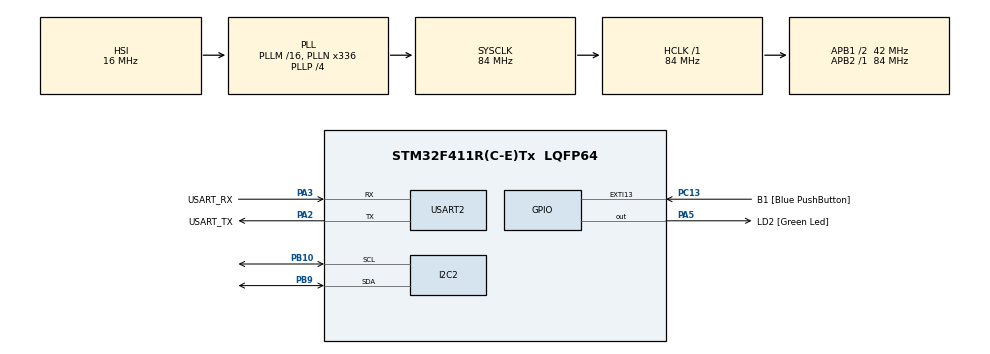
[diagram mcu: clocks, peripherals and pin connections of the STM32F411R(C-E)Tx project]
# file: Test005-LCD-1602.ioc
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Mcu.Family=STM32F4
Mcu.Name=STM32F411R(C-E)Tx
Mcu.Package=LQFP64
NVIC.PriorityGroup=NVIC_PRIORITYGROUP_0
PA13.GPIO_Label=TMS
PA13.Mode=Serial_Wire
PA13.Signal=SYS_JTMS-SWDIO
PA14.GPIO_Label=TCK
PA14.Mode=Serial_Wire
PA14.Signal=SYS_JTCK-SWCLK
PA2.GPIO_Label=USART_TX
PA2.Mode=Asynchronous
PA2.Signal=USART2_TX
PA3.GPIO_Label=USART_RX
PA3.Mode=Asynchronous
PA3.Signal=USART2_RX
PA5.GPIO_Label=LD2 [Green Led]
PA5.Signal=GPIO_Output
PB10.Mode=I2C
PB10.Signal=I2C2_SCL
PB3.GPIO_Label=SWO
PB3.Signal=SYS_JTDO-SWO
PB9.Mode=I2C
PB9.Signal=I2C2_SDA
PC13-ANTI_TAMP.GPIO_Label=B1 [Blue PushButton]
PC13-ANTI_TAMP.GPIO_ModeDefaultEXTI=GPIO_MODE_IT_FALLING
PC13-ANTI_TAMP.Signal=GPXTI13
PC14-OSC32_IN.Mode=LSE-External-Oscillator
PC14-OSC32_IN.Signal=RCC_OSC32_IN
PC15-OSC32_OUT.Mode=LSE-External-Oscillator
PC15-OSC32_OUT.Signal=RCC_OSC32_OUT
PH0\ -\ OSC_IN.Mode=HSE-External-Clock-Source
PH0\ -\ OSC_IN.Signal=RCC_OSC_IN
PH1\ -\ OSC_OUT.Mode=HSE-External-Clock-Source
PH1\ -\ OSC_OUT.Signal=RCC_OSC_OUT
ProjectManager.HeapSize=0x200
ProjectManager.StackSize=0x400
ProjectManager.TargetToolchain=STM32CubeIDE
RCC.48MHZClocksFreq_Value=84000000
RCC.AHBFreq_Value=84000000
RCC.APB1CLKDivider=RCC_HCLK_DIV2
RCC.APB1Freq_Value=42000000
RCC.APB1TimFreq_Value=84000000
RCC.APB2Freq_Value=84000000
RCC.APB2TimFreq_Value=84000000
RCC.CortexFreq_Value=84000000
RCC.FLatency-AdvancedSettings=FLASH_LATENCY_2
RCC.HCLKFreq_Value=84000000
RCC.HSE_VALUE=8000000
RCC.HSI_VALUE=16000000
RCC.PLLN=336
RCC.PLLP=RCC_PLLP_DIV4
RCC.SYSCLKFreq_VALUE=84000000
RCC.SYSCLKSource=RCC_SYSCLKSOURCE_PLLCLK
RCC.VCOOutputFreq_Value=336000000
USART2.VirtualMode=VM_ASYNC
board=NUCLEO-F411RE

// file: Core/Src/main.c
/* USER CODE BEGIN Header */
/**
  ******************************************************************************
  * @file           : main.c
  * @brief          : Main program body
  ******************************************************************************
  * @attention
  *
  * Copyright (c) 2024 STMicroelectronics.
  * All rights reserved.
  *
  * This software is licensed under terms that can be found in the LICENSE file
  * in the root directory of this software component.
  * If no LICENSE file comes with this software, it is provided AS-IS.
  *
  ******************************************************************************
  */
/* USER CODE END Header */
#include "main.h"

I2C_HandleTypeDef hi2c2;

UART_HandleTypeDef huart2;

void SystemClock_Config(void);
static void MX_GPIO_Init(void);
static void MX_USART2_UART_Init(void);
static void MX_I2C2_Init(void);

int main(void)
{

  /* MCU Configuration--------------------------------------------------------*/

  /* Reset of all peripherals, Initializes the Flash interface and the Systick. */
  HAL_Init();

  /* Configure the system clock */
  SystemClock_Config();

  /* Initialize all configured peripherals */
  MX_GPIO_Init();
  MX_USART2_UART_Init();
  MX_I2C2_Init();
  /* USER CODE BEGIN 2 */
  ProgramStart("LCD (1602)");
  i2c_init(&hi2c2);
  i2c_scan();

  lcd_init();
  lcd_print("Hello ");
  lcd_print("Good afternoon");
  int i;
  printf("Scanf test. Input any number : ");
  scanf("%d", &i);
  printf("Input number = %d\r\n", i);
  /* USER CODE END 2 */

  /* Infinite loop */
  /* USER CODE BEGIN WHILE */
  char buf[20];
  while (1)
  {
	  printf("Scanf test. Input any number : ");
	  scanf("%d", &i);
	  sprintf(buf,"Input number:%d", i);
	  lcd_printEx2(buf);

    /* USER CODE END WHILE */

  }
}

void SystemClock_Config(void)
{
  RCC_OscInitTypeDef RCC_OscInitStruct = {0};
  RCC_ClkInitTypeDef RCC_ClkInitStruct = {0};

  /** Configure the main internal regulator output voltage
  */
  __HAL_RCC_PWR_CLK_ENABLE();
  __HAL_PWR_VOLTAGESCALING_CONFIG(PWR_REGULATOR_VOLTAGE_SCALE1);

  /** Initializes the RCC Oscillators according to the specified parameters
  * in the RCC_OscInitTypeDef structure.
  */
  RCC_OscInitStruct.OscillatorType = RCC_OSCILLATORTYPE_HSI;
  RCC_OscInitStruct.HSIState = RCC_HSI_ON;
  RCC_OscInitStruct.HSICalibrationValue = RCC_HSICALIBRATION_DEFAULT;
  RCC_OscInitStruct.PLL.PLLState = RCC_PLL_ON;
  RCC_OscInitStruct.PLL.PLLSource = RCC_PLLSOURCE_HSI;
  RCC_OscInitStruct.PLL.PLLM = 16;
  RCC_OscInitStruct.PLL.PLLN = 336;
  RCC_OscInitStruct.PLL.PLLP = RCC_PLLP_DIV4;
  RCC_OscInitStruct.PLL.PLLQ = 4;
  if (HAL_RCC_OscConfig(&RCC_OscInitStruct) != HAL_OK)
  {
    Error_Handler();
  }

  /** Initializes the CPU, AHB and APB buses clocks
  */
  RCC_ClkInitStruct.ClockType = RCC_CLOCKTYPE_HCLK|RCC_CLOCKTYPE_SYSCLK
                              |RCC_CLOCKTYPE_PCLK1|RCC_CLOCKTYPE_PCLK2;
  RCC_ClkInitStruct.SYSCLKSource = RCC_SYSCLKSOURCE_PLLCLK;
  RCC_ClkInitStruct.AHBCLKDivider = RCC_SYSCLK_DIV1;
  RCC_ClkInitStruct.APB1CLKDivider = RCC_HCLK_DIV2;
  RCC_ClkInitStruct.APB2CLKDivider = RCC_HCLK_DIV1;

  if (HAL_RCC_ClockConfig(&RCC_ClkInitStruct, FLASH_LATENCY_2) != HAL_OK)
  {
    Error_Handler();
  }
}

static void MX_I2C2_Init(void)
{

  hi2c2.Instance = I2C2;
  hi2c2.Init.ClockSpeed = 100000;
  hi2c2.Init.DutyCycle = I2C_DUTYCYCLE_2;
  hi2c2.Init.OwnAddress1 = 0;
  hi2c2.Init.AddressingMode = I2C_ADDRESSINGMODE_7BIT;
  hi2c2.Init.DualAddressMode = I2C_DUALADDRESS_DISABLE;
  hi2c2.Init.OwnAddress2 = 0;
  hi2c2.Init.GeneralCallMode = I2C_GENERALCALL_DISABLE;
  hi2c2.Init.NoStretchMode = I2C_NOSTRETCH_DISABLE;
  if (HAL_I2C_Init(&hi2c2) != HAL_OK)
  {
    Error_Handler();
  }

}

static void MX_USART2_UART_Init(void)
{

  huart2.Instance = USART2;
  huart2.Init.BaudRate = 115200;
  huart2.Init.WordLength = UART_WORDLENGTH_8B;
  huart2.Init.StopBits = UART_STOPBITS_1;
  huart2.Init.Parity = UART_PARITY_NONE;
  huart2.Init.Mode = UART_MODE_TX_RX;
  huart2.Init.HwFlowCtl = UART_HWCONTROL_NONE;
  huart2.Init.OverSampling = UART_OVERSAMPLING_16;
  if (HAL_UART_Init(&huart2) != HAL_OK)
  {
    Error_Handler();
  }

}

static void MX_GPIO_Init(void)
{
  GPIO_InitTypeDef GPIO_InitStruct = {0};

  /* GPIO Ports Clock Enable */
  __HAL_RCC_GPIOC_CLK_ENABLE();
  __HAL_RCC_GPIOH_CLK_ENABLE();
  __HAL_RCC_GPIOA_CLK_ENABLE();
  __HAL_RCC_GPIOB_CLK_ENABLE();

  /*Configure GPIO pin Output Level */
  HAL_GPIO_WritePin(LD2_GPIO_Port, LD2_Pin, GPIO_PIN_RESET);

  /*Configure GPIO pin : B1_Pin */
  GPIO_InitStruct.Pin = B1_Pin;
  GPIO_InitStruct.Mode = GPIO_MODE_IT_FALLING;
  GPIO_InitStruct.Pull = GPIO_NOPULL;
  HAL_GPIO_Init(B1_GPIO_Port, &GPIO_InitStruct);

  /*Configure GPIO pin : LD2_Pin */
  GPIO_InitStruct.Pin = LD2_Pin;
  GPIO_InitStruct.Mode = GPIO_MODE_OUTPUT_PP;
  GPIO_InitStruct.Pull = GPIO_NOPULL;
  GPIO_InitStruct.Speed = GPIO_SPEED_FREQ_LOW;
  HAL_GPIO_Init(LD2_GPIO_Port, &GPIO_InitStruct);

}

void Error_Handler(void)
{
  __disable_irq();
  while (1)
  {
  }
}
